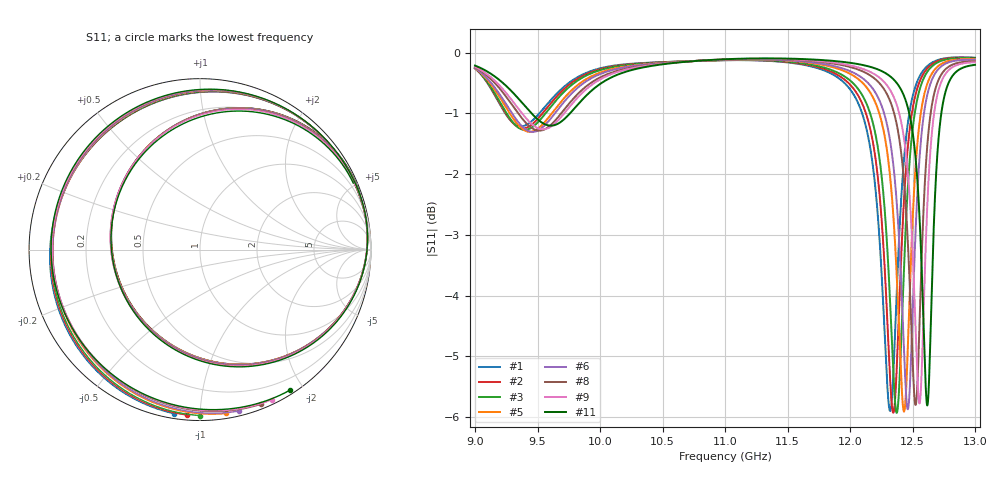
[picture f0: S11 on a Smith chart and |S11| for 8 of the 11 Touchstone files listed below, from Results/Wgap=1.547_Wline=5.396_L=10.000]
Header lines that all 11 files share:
! TOUCHSTONE file generated by CST DESIGN STUDIO
! Project name: C:\Work\MatlabApps\UnitCellOptimizationMatlab\CST\unitcell.cst
! Tree item: Tasks\Sweep1\SPara1\S-Parameters
! Header version: 2024
! Port assignment regex: !\s*Touchstone port\s*([0-9]+)\s*=\s*(CST MWS port|CST DES external port|CST DES block port)\s*(.+)\s* \(\"(.*)\"\)(\s*mode\s*([0-9]+))?.*
! Touchstone port assignment:
! Touchstone port 1 = CST DES external port 1 ("")
# GHz S MA R 50
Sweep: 9 GHz to 13 GHz
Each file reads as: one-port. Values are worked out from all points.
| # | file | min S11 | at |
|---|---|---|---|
| 1 | DS_for_MWS-run-0001.s1p | -5.9 dB | 12.32 GHz |
| 2 | DS_for_MWS-run-0002.s1p | -5.9 dB | 12.35 GHz |
| 3 | DS_for_MWS-run-0003.s1p | -5.9 dB | 12.37 GHz |
| 4 | DS_for_MWS-run-0004.s1p | -5.9 dB | 12.4 GHz |
| 5 | DS_for_MWS-run-0005.s1p | -5.9 dB | 12.43 GHz |
| 6 | DS_for_MWS-run-0006.s1p | -5.9 dB | 12.46 GHz |
| 7 | DS_for_MWS-run-0007.s1p | -5.8 dB | 12.49 GHz |
| 8 | DS_for_MWS-run-0008.s1p | -5.8 dB | 12.53 GHz |
| 9 | DS_for_MWS-run-0009.s1p | -5.8 dB | 12.56 GHz |
| 10 | DS_for_MWS-run-0010.s1p | -5.8 dB | 12.59 GHz |
| 11 | DS_for_MWS-run-0011.s1p | -5.8 dB | 12.62 GHz |
